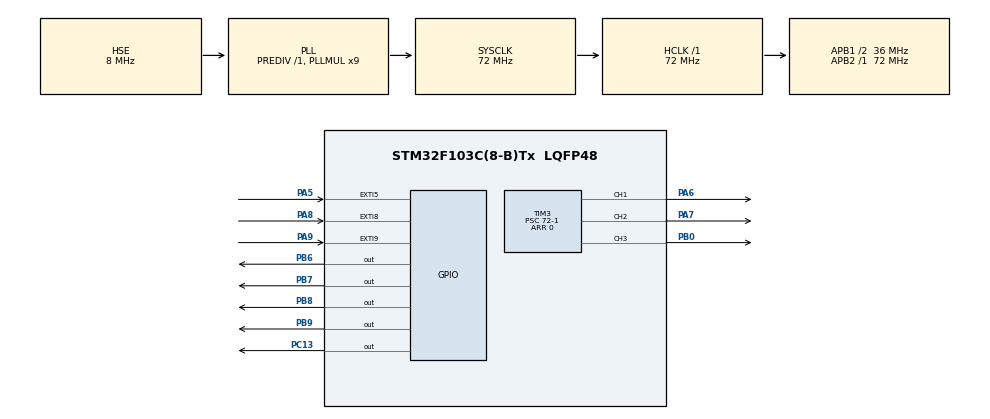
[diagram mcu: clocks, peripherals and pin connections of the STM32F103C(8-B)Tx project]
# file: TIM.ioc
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Dma.Request0=TIM3_CH3
Dma.TIM3_CH3.0.Direction=DMA_PERIPH_TO_MEMORY
Dma.TIM3_CH3.0.Instance=DMA1_Channel2
Dma.TIM3_CH3.0.MemDataAlignment=DMA_MDATAALIGN_HALFWORD
Dma.TIM3_CH3.0.MemInc=DMA_MINC_ENABLE
Dma.TIM3_CH3.0.Mode=DMA_CIRCULAR
Dma.TIM3_CH3.0.PeriphDataAlignment=DMA_PDATAALIGN_HALFWORD
Dma.TIM3_CH3.0.PeriphInc=DMA_PINC_DISABLE
Dma.TIM3_CH3.0.Priority=DMA_PRIORITY_LOW
Mcu.Family=STM32F1
Mcu.Name=STM32F103C(8-B)Tx
Mcu.Package=LQFP48
NVIC.DMA1_Channel2_IRQn=true\:0\:0\:false\:false\:true\:false\:true\:true
NVIC.EXTI9_5_IRQn=true\:1\:0\:true\:false\:true\:true\:true\:true
NVIC.PriorityGroup=NVIC_PRIORITYGROUP_4
NVIC.TIM2_IRQn=true\:1\:0\:true\:false\:true\:true\:true\:true
PA13.Mode=Serial_Wire
PA13.Signal=SYS_JTMS-SWDIO
PA14.Mode=Serial_Wire
PA14.Signal=SYS_JTCK-SWCLK
PA5.GPIO_PuPd=GPIO_PULLDOWN
PA5.Signal=GPXTI5
PA6.GPIO_Speed=GPIO_SPEED_FREQ_HIGH
PA6.Signal=S_TIM3_CH1
PA7.GPIO_Speed=GPIO_SPEED_FREQ_HIGH
PA7.Signal=S_TIM3_CH2
PA8.GPIO_ModeDefaultEXTI=GPIO_MODE_IT_RISING
PA8.GPIO_PuPd=GPIO_PULLDOWN
PA8.Signal=GPXTI8
PA9.GPIO_ModeDefaultEXTI=GPIO_MODE_IT_RISING
PA9.GPIO_PuPd=GPIO_NOPULL
PA9.Signal=GPXTI9
PB0.GPIO_Speed=GPIO_SPEED_FREQ_HIGH
PB0.Signal=S_TIM3_CH3
PB6.GPIO_Speed=GPIO_SPEED_FREQ_HIGH
PB6.Signal=GPIO_Output
PB7.PinState=GPIO_PIN_SET
PB7.Signal=GPIO_Output
PB8.GPIO_Speed=GPIO_SPEED_FREQ_HIGH
PB8.PinState=GPIO_PIN_SET
PB8.Signal=GPIO_Output
PB9.GPIO_Speed=GPIO_SPEED_FREQ_HIGH
PB9.PinState=GPIO_PIN_SET
PB9.Signal=GPIO_Output
PC13-TAMPER-RTC.Signal=GPIO_Output
PD0-OSC_IN.Mode=HSE-External-Oscillator
PD0-OSC_IN.Signal=RCC_OSC_IN
PD1-OSC_OUT.Mode=HSE-External-Oscillator
PD1-OSC_OUT.Signal=RCC_OSC_OUT
ProjectManager.HeapSize=0x200
ProjectManager.StackSize=0x400
ProjectManager.TargetToolchain=Makefile
RCC.AHBFreq_Value=72000000
RCC.APB1CLKDivider=RCC_HCLK_DIV2
RCC.APB1Freq_Value=36000000
RCC.APB1TimFreq_Value=72000000
RCC.APB2Freq_Value=72000000
RCC.APB2TimFreq_Value=72000000
RCC.HCLKFreq_Value=72000000
RCC.PLLMUL=RCC_PLL_MUL9
RCC.PLLSourceVirtual=RCC_PLLSOURCE_HSE
RCC.SYSCLKFreq_VALUE=72000000
RCC.SYSCLKSource=RCC_SYSCLKSOURCE_PLLCLK
RCC.USBFreq_Value=72000000
SH.S_TIM3_CH1.0=TIM3_CH1,PWM Generation1 CH1
SH.S_TIM3_CH2.0=TIM3_CH2,PWM Generation2 CH2
SH.S_TIM3_CH3.0=TIM3_CH3,PWM Generation3 CH3
TIM2.AutoReloadPreload=TIM_AUTORELOAD_PRELOAD_ENABLE
TIM2.Period=5000-1
TIM2.Prescaler=7200-1
TIM3.Channel-PWM\ Generation1\ CH1=TIM_CHANNEL_1
TIM3.Channel-PWM\ Generation2\ CH2=TIM_CHANNEL_2
TIM3.Channel-PWM\ Generation3\ CH3=TIM_CHANNEL_3
TIM3.OCFastMode_PWM-PWM\ Generation2\ CH2=TIM_OCFAST_ENABLE
TIM3.OCFastMode_PWM-PWM\ Generation3\ CH3=TIM_OCFAST_ENABLE
TIM3.Period=0
TIM3.Prescaler=72-1
VP_TIM2_VS_ClockSourceINT.Mode=Internal
VP_TIM3_VS_ClockSourceINT.Mode=Internal
board=custom

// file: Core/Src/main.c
/* USER CODE BEGIN Header */
/**
 ******************************************************************************
 * @file           : main.c
 * @brief          : Main program body
 ******************************************************************************
 * @attention
 *
 * Copyright (c) 2022 STMicroelectronics.
 * All rights reserved.
 *
 * This software is licensed under terms that can be found in the LICENSE file
 * in the root directory of this software component.
 * If no LICENSE file comes with this software, it is provided AS-IS.
 *
 ******************************************************************************
 */
/* USER CODE END Header */
#include "main.h"
#include "tim.h"
#include "gpio.h"

/* USER CODE BEGIN Includes */
#include "math.h"
/* USER CODE END Includes */

void SystemClock_Config(void);

/* USER CODE BEGIN 0 */
int cnt_exti5 = 0;
int cnt_exti8 = 0;
int compare   = 0;
uint32_t valuex, valuey;
/* USER CODE END 0 */

int main(void)
{

    /* MCU Configuration--------------------------------------------------------*/

    /* Reset of all peripherals, Initializes the Flash interface and the Systick. */
    HAL_Init();

    /* Configure the system clock */
    SystemClock_Config();

    /* Initialize all configured peripherals */
    MX_GPIO_Init();
    MX_TIM2_Init();
    MX_TIM3_Init();
    /* USER CODE BEGIN 2 */
    HAL_TIM_Base_Start_IT(&htim2);

    HAL_TIM_PWM_Start(&htim3, TIM_CHANNEL_1);
    HAL_TIM_PWM_Start(&htim3, TIM_CHANNEL_2);
    HAL_TIM_PWM_Start(&htim3, TIM_CHANNEL_3);
    __HAL_TIM_SET_AUTORELOAD(&htim3, 1900);
    /* USER CODE END 2 */

    /* Infinite loop */
    while (1) {

        /* USER CODE BEGIN 3 */
        for (int i = 0; i < 19; i++) {
            compare += 100;
            __HAL_TIM_SET_COMPARE(&htim3, TIM_CHANNEL_1, compare);
            __HAL_TIM_SET_COMPARE(&htim3, TIM_CHANNEL_2, compare);
            __HAL_TIM_SET_COMPARE(&htim3, TIM_CHANNEL_3, compare);
            HAL_Delay(100);
        }
        for (int i = 0; i < 19; i++) {
            compare -= 100;
            __HAL_TIM_SET_COMPARE(&htim3, TIM_CHANNEL_1, compare);
            __HAL_TIM_SET_COMPARE(&htim3, TIM_CHANNEL_2, compare);
            __HAL_TIM_SET_COMPARE(&htim3, TIM_CHANNEL_3, compare);
            HAL_Delay(100);
        }
    }
    /* USER CODE END 3 */
}

void SystemClock_Config(void)
{
    RCC_OscInitTypeDef RCC_OscInitStruct = {0};
    RCC_ClkInitTypeDef RCC_ClkInitStruct = {0};

    /** Initializes the RCC Oscillators according to the specified parameters
     * in the RCC_OscInitTypeDef structure.
     */
    RCC_OscInitStruct.OscillatorType = RCC_OSCILLATORTYPE_HSE;
    RCC_OscInitStruct.HSEState       = RCC_HSE_ON;
    RCC_OscInitStruct.HSEPredivValue = RCC_HSE_PREDIV_DIV1;
    RCC_OscInitStruct.HSIState       = RCC_HSI_ON;
    RCC_OscInitStruct.PLL.PLLState   = RCC_PLL_ON;
    RCC_OscInitStruct.PLL.PLLSource  = RCC_PLLSOURCE_HSE;
    RCC_OscInitStruct.PLL.PLLMUL     = RCC_PLL_MUL9;
    if (HAL_RCC_OscConfig(&RCC_OscInitStruct) != HAL_OK) {
        Error_Handler();
    }

    /** Initializes the CPU, AHB and APB buses clocks
     */
    RCC_ClkInitStruct.ClockType      = RCC_CLOCKTYPE_HCLK | RCC_CLOCKTYPE_SYSCLK | RCC_CLOCKTYPE_PCLK1 | RCC_CLOCKTYPE_PCLK2;
    RCC_ClkInitStruct.SYSCLKSource   = RCC_SYSCLKSOURCE_PLLCLK;
    RCC_ClkInitStruct.AHBCLKDivider  = RCC_SYSCLK_DIV1;
    RCC_ClkInitStruct.APB1CLKDivider = RCC_HCLK_DIV2;
    RCC_ClkInitStruct.APB2CLKDivider = RCC_HCLK_DIV1;

    if (HAL_RCC_ClockConfig(&RCC_ClkInitStruct, FLASH_LATENCY_2) != HAL_OK) {
        Error_Handler();
    }
}

/* USER CODE BEGIN 4 */
void HAL_TIM_PeriodElapsedCallback(TIM_HandleTypeDef *htim)
{
    if (htim->Instance == TIM2) {
        HAL_GPIO_TogglePin(GPIOC, GPIO_PIN_13);
    }
}
void HAL_GPIO_EXTI_Callback(uint16_t GPIO_Pin)
{
    // if(GPIO_Pin == GPIO_PIN_5)
    // {
    //   // HAL_Delay(30);
    //   // if(HAL_GPIO_ReadPin(GPIOA,GPIO_PIN_5) != GPIO_PIN_SET)
    //   // {
    //   //   return;
    //   // }
    //   // HAL_GPIO_TogglePin(GPIOC,GPIO_PIN_13);
    cnt_exti5++;
    // }
    // else if (GPIO_Pin == GPIO_PIN_8)
    // {
    cnt_exti8++;
    HAL_GPIO_TogglePin(GPIOC, GPIO_PIN_13);
    // }
}
/* USER CODE END 4 */

void Error_Handler(void)
{
    __disable_irq();
    while (1) {
    }
}
